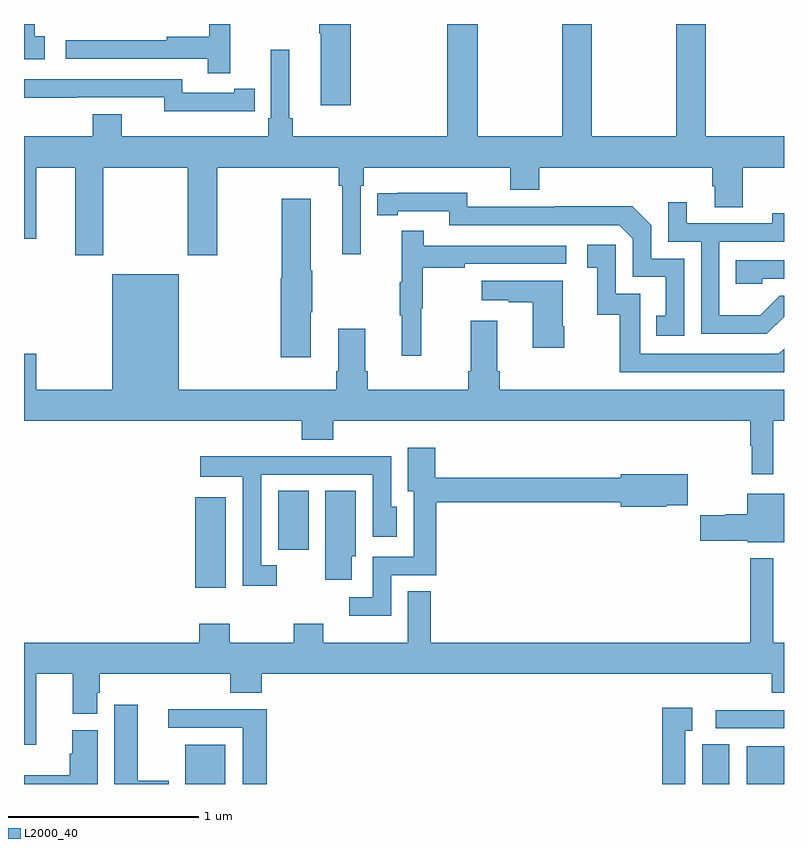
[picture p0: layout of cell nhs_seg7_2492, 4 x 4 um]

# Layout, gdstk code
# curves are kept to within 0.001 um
import gdstk
lib = gdstk.Library(unit=1e-6, precision=1e-09)
def R(c, l, rs):  # rectangles x0, y0, x1, y1
    for r in rs: c.add(gdstk.rectangle(r[:2], r[2:], *l))
def P(c, l, *ps):  # polygons
    for p in ps: c.add(gdstk.Polygon(p, *l))
L2000_40 = (2000, 40)

nhs_seg7_2492 = lib.new_cell('nhs_seg7_2492')
R(nhs_seg7_2492, L2000_40, [(273.848,1036,274.06,1036.207), (276.569,1036,276.712,1036.208), (276.803,1036,277,1036.198), (276.642,1036.293,277,1036.389), (273.902,1037.034,274.063,1037.509), (274.337,1037.232,274.498,1037.543)])
P(nhs_seg7_2492, L2000_40, [(276.623,1039.146),(276.635,1039.146),(276.635,1039.036),(276.783,1039.036),(276.783,1039.244),(277,1039.244),(277,1039.408),(276.588,1039.408),(276.588,1040),(276.433,1040),(276.433,1039.408),(275.988,1039.408),(275.988,1040),(275.833,1040),(275.833,1039.408),(275.388,1039.408),(275.388,1040),(275.228,1040),(275.228,1039.408),(274.415,1039.408),(274.415,1039.504),(274.396,1039.504),(274.396,1039.864),(274.299,1039.864),(274.299,1039.504),(274.286,1039.504),(274.286,1039.408),(273.514,1039.408),(273.514,1039.525),(273.362,1039.525),(273.362,1039.408),(273,1039.408),(273,1038.87),(273.064,1038.87),(273.064,1039.244),(273.269,1039.244),(273.269,1038.783),(273.417,1038.783),(273.417,1039.244),(273.862,1039.244),(273.862,1038.783),(274.017,1038.783),(274.017,1039.244),(274.657,1039.244),(274.657,1039.148),(274.676,1039.148),(274.676,1038.789),(274.773,1038.789),(274.773,1039.148),(274.787,1039.148),(274.787,1039.244),(275.558,1039.244),(275.558,1039.127),(275.711,1039.127),(275.711,1039.244),(276.623,1039.244)],
  [(274.721,1040),(274.555,1040),(274.555,1039.951),(274.562,1039.951),(274.562,1039.572),(274.721,1039.572)],
  [(274.085,1040),(273.975,1040),(273.975,1039.934),(273.751,1039.934),(273.751,1039.914),(273.219,1039.914),(273.219,1039.818),(273.967,1039.818),(273.967,1039.74),(274.085,1039.74)],
  [(273.109,1039.935),(273.056,1039.935),(273.056,1040),(273,1040),(273,1039.815),(273.109,1039.815)],
  [(274.106,1039.542),(274.214,1039.542),(274.214,1039.658),(274.106,1039.658),(274.106,1039.638),(273.834,1039.638),(273.834,1039.71),(273,1039.71),(273,1039.613),(273.278,1039.613),(273.278,1039.614),(273.738,1039.614),(273.738,1039.541),(274.106,1039.541)],
  [(276.474,1038.765),(276.3,1038.765),(276.3,1038.942),(276.202,1039.04),(275.794,1039.04),(275.794,1039.038),(275.334,1039.038),(275.334,1039.111),(274.858,1039.11),(274.858,1038.994),(274.966,1038.994),(274.966,1039.014),(275.238,1039.014),(275.238,1038.942),(276.132,1038.942),(276.204,1038.87),(276.204,1038.669),(276.377,1038.669),(276.377,1038.465),(276.328,1038.465),(276.328,1038.36),(276.474,1038.36)],
  [(274.51,1038.484),(274.518,1038.484),(274.518,1038.701),(274.51,1038.701),(274.51,1039.081),(274.357,1039.081),(274.357,1038.663),(274.352,1038.663),(274.352,1038.246),(274.51,1038.246)],
  [(277,1038.459),(277,1038.57),(276.978,1038.57),(276.874,1038.466),(276.66,1038.466),(276.66,1038.855),(277,1038.855),(277,1039.003),(276.938,1039.003),(276.938,1038.951),(276.487,1038.951),(276.487,1039.063),(276.39,1039.063),(276.39,1038.855),(276.564,1038.855),(276.564,1038.369),(276.91,1038.369)],
  [(275.09,1038.504),(275.098,1038.504),(275.098,1038.718),(275.321,1038.718),(275.321,1038.738),(275.854,1038.738),(275.854,1038.834),(275.105,1038.834),(275.105,1038.913),(274.988,1038.913),(274.988,1038.641),(274.977,1038.641),(274.977,1038.467),(274.988,1038.467),(274.988,1038.255),(275.09,1038.255)],
  [(277,1038.292),(276.972,1038.264),(276.243,1038.264),(276.243,1038.579),(276.114,1038.579),(276.114,1038.838),(275.964,1038.838),(275.964,1038.717),(276.017,1038.717),(276.017,1038.471),(276.135,1038.471),(276.135,1038.168),(277,1038.168)],
  [(276.885,1038.66),(277,1038.66),(277,1038.756),(276.745,1038.756),(276.745,1038.633),(276.885,1038.633)],
  [(276.943,1037.912),(277,1037.912),(277,1038.076),(275.504,1038.076),(275.504,1038.172),(275.491,1038.172),(275.491,1038.439),(275.351,1038.439),(275.351,1038.172),(275.339,1038.172),(275.339,1038.076),(274.808,1038.076),(274.808,1038.172),(274.795,1038.172),(274.795,1038.397),(274.655,1038.397),(274.655,1038.172),(274.643,1038.172),(274.643,1038.076),(273.814,1038.076),(273.814,1038.682),(273.464,1038.682),(273.464,1038.076),(273.064,1038.076),(273.064,1038.265),(273,1038.265),(273,1037.912),(274.463,1037.912),(274.463,1037.813),(274.628,1037.813),(274.628,1037.912),(276.822,1037.912),(276.822,1037.78),(276.829,1037.78),(276.829,1037.631),(276.943,1037.631)],
  [(275.844,1038.409),(275.836,1038.409),(275.836,1038.649),(275.409,1038.649),(275.409,1038.545),(275.552,1038.545),(275.552,1038.535),(275.678,1038.535),(275.678,1038.297),(275.844,1038.297)],
  [(274.932,1037.1),(275.17,1037.1),(275.17,1037.482),(276.14,1037.482),(276.14,1037.459),(276.38,1037.459),(276.38,1037.468),(276.493,1037.468),(276.493,1037.629),(276.14,1037.629),(276.14,1037.611),(275.165,1037.611),(275.165,1037.77),(275.021,1037.77),(275.021,1037.541),(275.051,1037.541),(275.051,1037.196),(274.836,1037.196),(274.836,1036.983),(274.713,1036.983),(274.713,1036.886),(274.932,1036.886)],
  [(274.33,1037.151),(274.248,1037.151),(274.248,1037.628),(274.836,1037.628),(274.836,1037.301),(274.963,1037.301),(274.963,1037.46),(274.932,1037.46),(274.932,1037.726),(274.711,1037.726),(274.711,1037.724),(274.345,1037.724),(274.345,1037.726),(273.927,1037.726),(273.927,1037.618),(274.152,1037.618),(274.152,1037.043),(274.33,1037.043)],
  [(274.726,1037.199),(274.747,1037.199),(274.747,1037.543),(274.586,1037.543),(274.586,1037.076),(274.726,1037.076)],
  [(277,1037.527),(276.806,1037.527),(276.806,1037.421),(276.69,1037.421),(276.69,1037.414),(276.558,1037.414),(276.558,1037.279),(276.81,1037.279),(276.81,1037.273),(277,1037.273)],
  [(273.064,1036.58),(273.257,1036.58),(273.257,1036.369),(273.385,1036.369),(273.385,1036.479),(273.398,1036.479),(273.398,1036.58),(274.085,1036.58),(274.085,1036.481),(274.25,1036.481),(274.25,1036.58),(276.935,1036.58),(276.935,1036.481),(277,1036.481),(277,1036.744),(276.943,1036.744),(276.943,1037.188),(276.822,1037.188),(276.822,1036.744),(275.14,1036.744),(275.14,1037.015),(275.021,1037.015),(275.021,1036.744),(274.575,1036.744),(274.575,1036.843),(274.42,1036.843),(274.42,1036.744),(274.083,1036.744),(274.083,1036.843),(273.923,1036.843),(273.923,1036.744),(273,1036.744),(273,1036.206),(273.064,1036.206)],
  [(273.763,1036.018),(273.598,1036.018),(273.598,1036.417),(273.476,1036.417),(273.476,1036),(273.763,1036)],
  [(276.481,1036.281),(276.517,1036.281),(276.517,1036.402),(276.36,1036.402),(276.36,1036),(276.481,1036)],
  [(274.277,1036.394),(273.759,1036.394),(273.759,1036.296),(274.151,1036.296),(274.151,1036),(274.277,1036)],
  [(273.388,1036.284),(273.254,1036.284),(273.254,1036.16),(273.242,1036.16),(273.242,1036.045),(273,1036.045),(273,1036),(273.388,1036)])

lib.write_gds('nhs_seg7_2492.gds')
